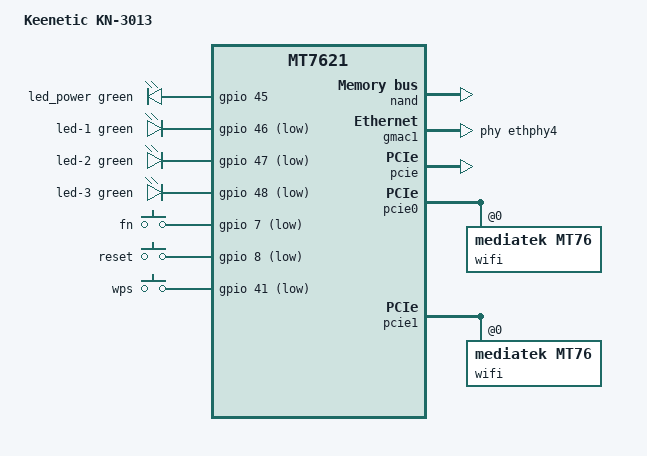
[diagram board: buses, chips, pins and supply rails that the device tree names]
// SPDX-License-Identifier: GPL-2.0-or-later OR MIT
#include "mt7621.dtsi"

#include <dt-bindings/gpio/gpio.h>
#include <dt-bindings/input/input.h>
#include <dt-bindings/leds/common.h>

/ {
	compatible = "keenetic,kn-3013", "mediatek,mt7621-soc";
	model = "Keenetic KN-3013";

	aliases {
		led-boot = &led_power;
		led-failsafe = &led_power;
		led-running = &led_power;
		led-upgrade = &led_power;
		label-mac-device = &gmac0;
	};

	chosen {
		bootargs = "console=ttyS0,115200";
	};

	leds {
		compatible = "gpio-leds";

		led_power: led-0 {
			color = <LED_COLOR_ID_GREEN>;
			function = LED_FUNCTION_POWER;
			gpios = <&gpio 45 GPIO_ACTIVE_HIGH>;
		};

		led-1 {
			color = <LED_COLOR_ID_GREEN>;
			function = LED_FUNCTION_WAN;
			gpios = <&gpio 46 GPIO_ACTIVE_LOW>;
		};

		led-2 {
			color = <LED_COLOR_ID_GREEN>;
			function = LED_FUNCTION_WLAN_2GHZ;
			gpios = <&gpio 47 GPIO_ACTIVE_LOW>;
			linux,default-trigger = "phy0tpt";
		};

		led-3 {
			color = <LED_COLOR_ID_GREEN>;
			function = LED_FUNCTION_WLAN_5GHZ;
			gpios = <&gpio 48 GPIO_ACTIVE_LOW>;
			linux,default-trigger = "phy1tpt";
		};
	};

	keys {
		compatible = "gpio-keys";

		fn {
			label = "fn";
			gpios = <&gpio 7 GPIO_ACTIVE_LOW>;
			linux,code = <BTN_0>;
		};

		reset {
			label = "reset";
			gpios = <&gpio 8 GPIO_ACTIVE_LOW>;
			linux,code = <KEY_RESTART>;
		};

		wps {
			label = "wps";
			gpios = <&gpio 41 GPIO_ACTIVE_LOW>;
			linux,code = <KEY_WPS_BUTTON>;
		};
	};
};

&state_default {
	gpio {
		groups = "uart3", "jtag", "wdt";
		function = "gpio";
	};
};

&nand {
	status = "okay";

	partitions {
		compatible = "fixed-partitions";
		#address-cells = <1>;
		#size-cells = <1>;

		partition@0 {
			label = "u-boot";
			reg = <0x0 0x80000>;
			read-only;
		};

		partition@80000 {
			label = "u-config";
			reg = <0x80000 0x80000>;
			read-only;
		};

		factory: partition@100000 {
			label = "factory";
			reg = <0x100000 0x80000>;
			read-only;

			nvmem-layout {
				compatible = "fixed-layout";
				#address-cells = <1>;
				#size-cells = <1>;

				eeprom_factory_0: eeprom@0 {
					reg = <0x0 0x400>;
				};

				eeprom_factory_8000: eeprom@8000 {
					reg = <0x8000 0x4da8>;
				};

				macaddr_factory_4: macaddr@4 {
					compatible = "mac-base";
					reg = <0x4 0x6>;
					#nvmem-cell-cells = <1>;
				};

				macaddr_factory_28: macaddr@28 {
					reg = <0x28 0x6>;
				};
			};
		};

		partition@180000 {
			label = "firmware_1";
			reg = <0x180000 0x1a40000>;
		};

		partition@1bc0000 {
			label = "config_1";
			reg = <0x1bc0000 0x200000>;
		};

		partition@1dc0000 {
			label = "storage";
			reg = <0x1dc0000 0x200000>;
		};

		partition@1fc0000 {
			label = "dump";
			reg = <0x1fc0000 0x40000>;
			read-only;
		};

		partition@3fc0000 {
			label = "u-state";
			reg = <0x3fc0000 0x80000>;
			read-only;
		};

		partition@4040000 {
			label = "u-config_res";
			reg = <0x4040000 0x80000>;
			read-only;
		};

		partition@40c0000 {
			label = "factory_res";
			reg = <0x40c0000 0x80000>;
			read-only;
		};

		partition@4140000 {
			label = "firmware";
			reg = <0x4140000 0x1a40000>;
			compatible = "denx,uimage";
		};

		partition@5b80000 {
			label = "config_2";
			reg = <0x5b80000 0x200000>;
		};
	};
};

&gmac0 {
	nvmem-cells = <&macaddr_factory_4 0>;
	nvmem-cell-names = "mac-address";
};

&gmac1 {
	status = "okay";
	label = "wan";
	phy-handle = <&ethphy4>;

	nvmem-cells = <&macaddr_factory_28>;
	nvmem-cell-names = "mac-address";
};

&switch0 {
	ports {
		port@0 {
			status = "okay";
			label = "lan1";
		};

		port@1 {
			status = "okay";
			label = "lan2";
		};

		port@2 {
			status = "okay";
			label = "lan3";
		};

		port@3 {
			status = "okay";
			label = "lan4";
		};

		port@4 {
			status = "okay";
			label = "wan";
			nvmem-cells = <&macaddr_factory_28>;
			nvmem-cell-names = "mac-address";
		};
	};
};

&pcie {
	status = "okay";
};

&pcie0 {
	wifi@0,0 {
		compatible = "mediatek,mt76";
		reg = <0x0000 0 0 0 0>;
		nvmem-cells = <&eeprom_factory_0>;
		nvmem-cell-names = "eeprom";
		ieee80211-freq-limit = <2400000 2500000>;
	};
};

&pcie1 {
	wifi@0,0 {
		compatible = "mediatek,mt76";
		reg = <0x0000 0 0 0 0>;
		nvmem-cells = <&eeprom_factory_8000>;
		nvmem-cell-names = "eeprom";
		ieee80211-freq-limit = <5000000 6000000>;
	};
};

&xhci {
	status = "disabled";
};
